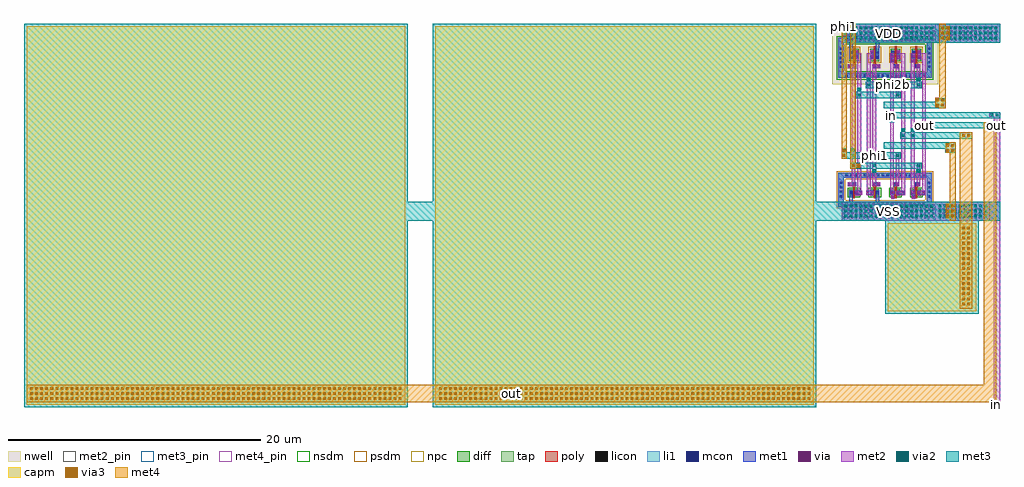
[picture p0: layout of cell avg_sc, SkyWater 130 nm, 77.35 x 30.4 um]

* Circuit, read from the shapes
.subckt avg_sc VDD VSS cs in out phi1 phi1b phi2 phi2b
XM1 phi1b phi1 VSS VSS sky130_fd_pr__nfet_01v8 w=0.5 l=0.15
XM2 VSS phi2 phi2b VSS sky130_fd_pr__nfet_01v8 w=0.5 l=0.15
XM3 cs phi1 in VSS sky130_fd_pr__nfet_01v8 w=0.5 l=0.15
XM4 out phi2 cs VSS sky130_fd_pr__nfet_01v8 w=0.5 l=0.15
XM5 phi1b phi1 VDD VDD sky130_fd_pr__pfet_01v8 w=1 l=0.15
XM6 VDD phi2 phi2b VDD sky130_fd_pr__pfet_01v8 w=1 l=0.15
XM7 cs phi1b in VDD sky130_fd_pr__pfet_01v8 w=1 l=0.15
XM8 out phi2b cs VDD sky130_fd_pr__pfet_01v8 w=1 l=0.15
XC9 out VSS sky130_fd_pr__cap_mim_m3_1 w=30 l=30 m=2
XC10 cs VSS sky130_fd_pr__cap_mim_m3_1 w=7 l=7
.ends

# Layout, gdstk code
import gdstk
lib = gdstk.Library(unit=1e-6, precision=1e-09)
def R(c, l, rs):  # rectangles x0, y0, x1, y1
    for r in rs: c.add(gdstk.rectangle(r[:2], r[2:], *l))
def A(c, l, x, y, w, h, nx, ny, dx, dy):  # array of equal rectangles
    R(c, l, [(x+i*dx, y+j*dy, x+i*dx+w, y+j*dy+h) for i in range(nx) for j in range(ny)])
def P(c, l, *ps):  # polygons
    for p in ps: c.add(gdstk.Polygon(p, *l))
nwell = (64, 20)
diff = (65, 20)
tap = (65, 44)
poly = (66, 20)
licon = (66, 44)
li1 = (67, 20)
mcon = (67, 44)
met1 = (68, 20)
via = (68, 44)
met2_pin = (69, 16)
met2 = (69, 20)
via2 = (69, 44)
met3_pin = (70, 16)
met3 = (70, 20)
via3 = (70, 44)
met4_pin = (71, 16)
met4 = (71, 20)
capm = (89, 44)
nsdm = (93, 44)
psdm = (94, 20)
npc = (95, 20)

pfet = lib.new_cell('pfet')
R(pfet, nwell, [(-0.305,-0.72,1.055,1.38)])
R(pfet, diff, [(0,0,0.75,1)])
R(pfet, poly, [(0.24,-0.53,0.51,-0.2), (0.3,-0.2,0.45,1.2)])
R(pfet, licon, [(0.29,-0.45,0.46,-0.28), (0.065,0.235,0.235,0.405), (0.515,0.235,0.685,0.405), (0.065,0.595,0.235,0.765), (0.515,0.595,0.685,0.765)])
R(pfet, li1, [(0.21,-0.45,0.54,-0.28), (0.065,0.155,0.235,0.845), (0.515,0.155,0.685,0.845)])
R(pfet, mcon, [(0.29,-0.45,0.46,-0.28), (0.065,0.235,0.235,0.405), (0.515,0.235,0.685,0.405), (0.065,0.595,0.235,0.765), (0.515,0.595,0.685,0.765)])
R(pfet, met1, [(0.19,-0.48,0.56,-0.25), (0.035,0.175,0.265,0.825), (0.485,0.175,0.715,0.825)])
R(pfet, psdm, [(-0.125,-0.125,0.875,1.125)])
R(pfet, npc, [(0.23,-0.54,0.52,-0.19)])

nfet = lib.new_cell('nfet')
R(nfet, diff, [(0,0,0.75,0.5)])
R(nfet, poly, [(0.3,-0.2,0.45,0.7), (0.24,0.7,0.51,1.03)])
R(nfet, licon, [(0.065,0.165,0.235,0.335), (0.515,0.165,0.685,0.335), (0.29,0.78,0.46,0.95)])
R(nfet, li1, [(0.065,0.085,0.235,0.415), (0.515,0.085,0.685,0.415), (0.21,0.78,0.54,0.95)])
R(nfet, mcon, [(0.065,0.165,0.235,0.335), (0.515,0.165,0.685,0.335), (0.29,0.78,0.46,0.95)])
R(nfet, met1, [(0.005,0.105,0.295,0.395), (0.455,0.105,0.745,0.395), (0.19,0.75,0.56,0.98)])
R(nfet, nsdm, [(-0.125,-0.125,0.875,0.625)])
R(nfet, npc, [(0.23,0.69,0.52,1.04)])

avg_sc = lib.new_cell('avg_sc')
R(avg_sc, nwell, [(-0.75,3.25,7.65,7.45)])
P(avg_sc, tap, [(-0.25,3.75),(-0.25,6.55),(0.15,6.55),(0.15,4.15),(6.75,4.15),(6.75,6.55),(-0.25,6.55),(-0.25,6.95),(7.15,6.95),(7.15,3.75)],
  [(-0.25,-6.45),(-0.25,-4.15),(0.15,-4.15),(0.15,-6.05),(6.75,-6.05),(6.75,-4.15),(-0.25,-4.15),(-0.25,-3.75),(7.15,-3.75),(7.15,-6.45)])
A(avg_sc, licon, 0.305, -6.335, 0.17, 0.17, 18, 2, 0.36, 2.3)
A(avg_sc, licon, -0.135, -5.725, 0.17, 0.17, 1, 4, 0, 0.36)
A(avg_sc, licon, 6.865, -5.725, 0.17, 0.17, 1, 4, 0, 0.36)
A(avg_sc, licon, 0.305, 3.865, 0.17, 0.17, 18, 2, 0.36, 2.8)
A(avg_sc, licon, -0.135, 4.545, 0.17, 0.17, 1, 5, 0, 0.36)
A(avg_sc, licon, 6.865, 4.545, 0.17, 0.17, 1, 5, 0, 0.36)
P(avg_sc, li1, [(-0.25,3.75),(-0.25,6.55),(0.15,6.55),(0.15,4.15),(6.75,4.15),(6.75,6.55),(-0.25,6.55),(-0.25,6.95),(7.15,6.95),(7.15,3.75)],
  [(-0.25,-6.45),(-0.25,-4.15),(0.15,-4.15),(0.15,-6.05),(6.75,-6.05),(6.75,-4.15),(-0.25,-4.15),(-0.25,-3.75),(7.15,-3.75),(7.15,-6.45)])
A(avg_sc, mcon, 0.305, -6.335, 0.17, 0.17, 18, 2, 0.36, 2.3)
A(avg_sc, mcon, -0.135, -5.725, 0.17, 0.17, 1, 4, 0, 0.36)
A(avg_sc, mcon, 6.865, -5.725, 0.17, 0.17, 1, 4, 0, 0.36)
A(avg_sc, mcon, 0.305, 3.865, 0.17, 0.17, 18, 2, 0.36, 2.8)
A(avg_sc, mcon, -0.135, 4.545, 0.17, 0.17, 1, 5, 0, 0.36)
A(avg_sc, mcon, 6.865, 4.545, 0.17, 0.17, 1, 5, 0, 0.36)
R(avg_sc, met1, [(0,-7.55,7.45,-6.05), (7.45,-7.55,12.55,-6.05), (0.615,-6.45,0.885,-5.185), (2.715,-6.45,2.985,-5.185), (3.92,-5.81,4.18,-5.49), (5.57,-5.81,5.83,-5.49), (1.065,-5.49,1.335,-5.17), (2.265,-5.49,2.535,-5.17), (3.915,-5.49,4.185,-5.17), (4.365,-5.49,4.635,-5.17), (5.565,-5.49,5.835,-5.17), (6.015,-5.49,6.285,-5.17), (1.065,-5.475,1.335,-5.185), (2.265,-5.475,2.535,-5.185), (3.915,-5.475,4.185,-5.185), (4.365,-5.475,4.635,-5.185), (5.565,-5.475,5.835,-5.185), (6.015,-5.475,6.285,-5.185), (4.34,-5.46,4.355,-5.2), (4.645,-5.46,4.98,-5.2), (0.49,-4.83,0.79,-4.51), (0.79,-4.83,1.16,-4.51), (2.44,-4.83,2.81,-4.51), (2.81,-4.83,3.04,-4.51), (4.09,-4.83,4.585,-4.51), (5.74,-4.83,6.235,-4.51), (0.49,4.51,0.79,4.83), (0.79,4.51,1.16,4.83), (2.44,4.51,2.81,4.83), (2.81,4.51,3.04,4.83), (4.09,4.51,4.585,4.83), (5.74,4.51,6.235,4.83), (3.92,5.005,4.18,5.255), (5.57,5.005,5.83,5.255), (0.615,5.255,0.885,6.95), (1.065,5.255,1.335,5.905), (2.265,5.255,2.535,5.905), (2.715,5.255,2.985,6.95), (3.915,5.255,4.185,5.905), (4.365,5.255,4.635,5.905), (5.565,5.255,5.835,5.905), (6.015,5.255,6.285,5.905), (1.07,5.905,1.33,5.965), (2.27,5.905,2.53,5.965), (4.37,5.905,4.63,5.965), (6.02,5.905,6.28,5.965), (0,6.55,7.45,8.05), (7.45,6.55,12.55,8.05)])
P(avg_sc, met1, [(-0.25,3.75),(-0.25,6.55),(0.15,6.55),(0.15,4.15),(6.75,4.15),(6.75,6.55),(-0.25,6.55),(-0.25,6.95),(7.15,6.95),(7.15,3.75)],
  [(-0.25,-6.45),(-0.25,-4.15),(0.15,-4.15),(0.15,-6.05),(6.75,-6.05),(6.75,-4.15),(-0.25,-4.15),(-0.25,-3.75),(7.15,-3.75),(7.15,-6.45)],
  [(1.335,-5.49),(1.335,-5.475),(1.345,-5.475),(1.345,-5.185),(1.335,-5.185),(1.335,-5.17),(1.65,-5.17),(1.65,-5.49)],
  [(1.95,-5.49),(1.95,-5.17),(2.265,-5.17),(2.265,-5.185),(2.255,-5.185),(2.255,-5.475),(2.265,-5.475),(2.265,-5.49)],
  [(6.285,-5.49),(6.285,-5.475),(6.295,-5.475),(6.295,-5.185),(6.285,-5.185),(6.285,-5.17),(6.6,-5.17),(6.6,-5.49)])
A(avg_sc, via, 0.13, -7.355, 0.15, 0.15, 23, 4, 0.32, 0.32)
A(avg_sc, via, 7.685, -7.355, 0.15, 0.15, 12, 4, 0.32, 0.32)
A(avg_sc, via, 0.13, 6.745, 0.15, 0.15, 23, 4, 0.32, 0.32)
A(avg_sc, via, 7.685, 6.745, 0.15, 0.15, 15, 4, 0.32, 0.32)
R(avg_sc, via, [(3.975,-5.725,4.125,-5.575), (5.625,-5.725,5.775,-5.575), (1.125,-5.405,1.275,-5.255), (1.445,-5.405,1.595,-5.255), (2.005,-5.405,2.155,-5.255), (2.325,-5.405,2.475,-5.255), (3.975,-5.405,4.125,-5.255), (4.425,-5.405,4.575,-5.255), (4.745,-5.405,4.895,-5.255), (5.625,-5.405,5.775,-5.255), (6.075,-5.405,6.225,-5.255), (6.395,-5.405,6.545,-5.255), (0.545,-4.745,0.695,-4.595), (0.865,-4.745,1.015,-4.595), (2.515,-4.745,2.665,-4.595), (2.835,-4.745,2.985,-4.595), (4.36,-4.745,4.51,-4.595), (6.01,-4.745,6.16,-4.595), (0.545,4.595,0.695,4.745), (0.865,4.595,1.015,4.745), (2.515,4.595,2.665,4.745), (2.835,4.595,2.985,4.745), (4.36,4.595,4.51,4.745), (6.01,4.595,6.16,4.745), (3.975,5.09,4.125,5.24), (5.625,5.09,5.775,5.24), (1.125,5.41,1.275,5.56), (2.325,5.41,2.475,5.56), (3.975,5.41,4.125,5.56), (4.425,5.41,4.575,5.56), (5.625,5.41,5.775,5.56), (6.075,5.41,6.225,5.56), (1.125,5.73,1.275,5.88), (2.325,5.73,2.475,5.88), (4.425,5.73,4.575,5.88), (6.075,5.73,6.225,5.88)])
R(avg_sc, met2_pin, [(12.05,-22.35,12.55,-21.85)])
R(avg_sc, met2, [(12.05,-22.35,12.55,1.05), (0,-7.55,11.75,-6.05), (3.92,-5.81,4.18,-5.54), (5.57,-5.81,5.83,-5.54), (1.535,-5.49,1.65,-5.17), (1.95,-5.49,1.995,-5.17), (4.34,-5.46,4.365,-5.2), (0.49,-4.83,0.79,-4.51), (0.79,-4.83,1.09,4.83), (2.44,-4.83,2.74,4.83), (2.74,-4.83,3.04,-4.51), (4.285,-4.83,4.585,-2.15), (5.935,-4.83,6.235,-2.95), (6.345,-0.14,6.38,0.14), (6.68,-0.14,7.115,0.14), (11.715,0.66,12.05,0.94), (4.285,2.15,4.585,4.83), (5.935,2.95,6.235,4.83), (0.49,4.51,0.79,4.83), (2.74,4.51,3.04,4.83), (4.14,5.005,4.18,5.22), (5.79,5.005,5.83,5.22), (1.07,5.72,1.33,5.965), (2.27,5.72,2.53,5.965), (4.37,5.72,4.63,5.965), (6.02,5.72,6.28,5.965), (0,6.55,12.55,8.05)])
P(avg_sc, met2, [(1.065,-5.54),(1.065,-5.17),(1.235,-5.17),(1.235,5.22),(1.065,5.22),(1.065,5.72),(1.535,5.72),(1.535,-5.54)],
  [(1.995,-5.54),(1.995,5.72),(2.535,5.72),(2.535,5.22),(2.295,5.22),(2.295,-5.17),(2.535,-5.17),(2.535,-5.54)],
  [(3.84,-5.54),(3.84,5.72),(4.185,5.72),(4.185,5.22),(4.14,5.22),(4.14,-5.17),(4.185,-5.17),(4.185,-5.54)],
  [(4.365,-5.54),(4.365,-5.17),(4.73,-5.17),(4.73,5.22),(4.365,5.22),(4.365,5.72),(5.03,5.72),(5.03,-5.54)],
  [(5.49,-5.54),(5.49,5.72),(5.835,5.72),(5.835,5.22),(5.79,5.22),(5.79,-5.17),(5.835,-5.17),(5.835,-5.54)],
  [(6.015,-5.54),(6.015,-5.17),(6.38,-5.17),(6.38,5.22),(6.015,5.22),(6.015,5.72),(6.68,5.72),(6.68,-5.54)])
A(avg_sc, via2, 0.225, -7.3, 0.2, 0.2, 18, 3, 0.4, 0.4)
A(avg_sc, via2, 7.7, -7.3, 0.2, 0.2, 10, 3, 0.4, 0.4)
A(avg_sc, via2, 0.225, 6.8, 0.2, 0.2, 18, 3, 0.4, 0.4)
A(avg_sc, via2, 7.7, 6.8, 0.2, 0.2, 12, 3, 0.4, 0.4)
R(avg_sc, via2, [(2.49,-3.7,2.69,-3.5), (5.985,-3.7,6.185,-3.5), (2.49,-3.3,2.69,-3.1), (5.985,-3.3,6.185,-3.1), (0.84,-2.5,1.04,-2.3), (4.335,-2.5,4.535,-2.3), (0.84,-2.1,1.04,-1.9), (4.78,-0.9,4.98,-0.7), (5.54,-0.9,5.74,-0.7), (4.78,-0.5,4.98,-0.3), (5.54,-0.5,5.74,-0.3), (6.43,-0.1,6.63,0.1), (6.83,-0.1,7.03,0.1), (3.89,0.3,4.09,0.5), (3.89,0.7,4.09,0.9), (11.8,0.7,12,0.9), (12.2,0.7,12.4,0.9), (1.285,2.3,1.485,2.5), (4.335,2.3,4.535,2.5), (1.285,2.7,1.485,2.9), (2.045,3.1,2.245,3.3), (5.985,3.1,6.185,3.3), (2.045,3.5,2.245,3.7), (5.985,3.5,6.185,3.7)])
R(avg_sc, met3_pin, [(0,-7.55,7.45,-6.05), (12.05,-0.25,12.55,0.25), (0,6.55,7.45,8.05)])
R(avg_sc, met3, [(-64.8,-22.35,-34.4,8.05), (-32.4,-22.35,-2,8.05), (3.45,-14.95,10.85,-7.55), (-64.8,-7.55,0,-6.05), (0,-7.55,7.45,-6.05), (7.45,-7.55,12.55,-6.05), (2.425,-3.765,2.755,-3.45), (5.92,-3.765,6.25,-3.45), (0.7,-3.45,2.44,-2.95), (2.34,-3.45,6.335,-2.95), (0,-2.65,0.79,-2.15), (0.69,-2.65,4.685,-2.15), (8.21,-2.16,8.99,-1.85), (0.04,-2.15,0.36,-1.81), (0.775,-2.15,1.105,-1.835), (3.34,-1.85,9.05,-1.35), (4.63,-1.05,5.89,-0.55), (5.79,-1.05,10.35,-0.55), (4.715,-0.55,5.045,-0.235), (5.475,-0.55,5.805,-0.235), (6.28,-0.25,6.78,0.25), (6.68,-0.25,12.55,0.25), (3.825,0.235,4.155,0.55), (3.74,0.55,4.24,1.05), (4.14,0.55,12.55,1.05), (3.34,1.35,8.25,1.85), (7.41,1.85,8.19,2.16), (1.135,2.15,4.685,2.65), (1.22,2.65,1.55,2.965), (1.895,2.95,6.335,3.45), (1.98,3.45,2.31,3.765), (5.92,3.45,6.25,3.765), (0,6.55,7.45,8.05), (7.45,6.55,12.55,8.05)])
A(avg_sc, via3, -64.3, -21.75, 0.2, 0.2, 74, 3, 0.4, 0.4)
A(avg_sc, via3, -31.9, -21.75, 0.2, 0.2, 74, 3, 0.4, 0.4)
A(avg_sc, via3, 9.55, -14.25, 0.2, 0.2, 1, 16, 0, 0.4)
A(avg_sc, via3, 9.95, -14.25, 0.2, 0.2, 1, 16, 0, 0.4)
A(avg_sc, via3, 8.3, -7.3, 0.2, 0.2, 1, 3, 0, 0.4)
A(avg_sc, via3, 8.7, -7.3, 0.2, 0.2, 1, 3, 0, 0.4)
A(avg_sc, via3, 7.9, 6.8, 0.2, 0.2, 1, 3, 0, 0.4)
A(avg_sc, via3, 8.3, 6.8, 0.2, 0.2, 1, 3, 0, 0.4)
R(avg_sc, via3, [(0.8,-3.3,1,-3.1), (1.2,-3.3,1.4,-3.1), (0.1,-2.5,0.3,-2.3), (0.1,-2.1,0.3,-1.9), (8.3,-2.1,8.5,-1.9), (8.7,-2.1,8.9,-1.9), (8.3,-1.7,8.5,-1.5), (8.7,-1.7,8.9,-1.5), (9.55,-0.9,9.75,-0.7), (9.95,-0.9,10.15,-0.7), (11.45,-0.1,11.65,0.1), (11.85,-0.1,12.05,0.1), (7.5,1.5,7.7,1.7), (7.9,1.5,8.1,1.7), (7.5,1.9,7.7,2.1), (7.9,1.9,8.1,2.1)])
R(avg_sc, met4_pin, [(0,7.55,0.4,8.05), (0.7,7.55,1.1,8.05)])
R(avg_sc, met4, [(-64.6,-21.95,12.25,-20.55), (11.25,-20.55,12.25,0.25), (9.35,-14.55,10.35,-0.55), (8.55,-7.55,9.05,-1.35), (8.235,-7.365,8.55,-6.235), (0.7,-3.45,1.1,8.05), (1.1,-3.365,1.465,-3.035), (0,-2.65,0.4,8.05), (8.235,-2.165,8.55,-1.435), (7.75,1.35,8.25,8.05), (7.435,1.435,7.75,2.165), (8.25,6.735,8.565,7.865)])
R(avg_sc, capm, [(-64.6,-22.15,-34.6,7.85), (-32.2,-22.15,-2.2,7.85), (3.65,-14.75,10.65,-7.75)])
P(avg_sc, nsdm, [(-0.375,3.625),(-0.375,6.425),(0.275,6.425),(0.275,4.275),(6.625,4.275),(6.625,6.425),(-0.375,6.425),(-0.375,7.075),(7.275,7.075),(7.275,3.625)])
P(avg_sc, psdm, [(-0.375,-6.575),(-0.375,-4.275),(0.275,-4.275),(0.275,-5.925),(6.625,-5.925),(6.625,-4.275),(-0.375,-4.275),(-0.375,-3.625),(7.275,-3.625),(7.275,-6.575)])
avg_sc.add(gdstk.Reference(pfet, (0.6,5.08)))
avg_sc.add(gdstk.Reference(pfet, (2.25,5.08)))
avg_sc.add(gdstk.Reference(pfet, (3.9,5.08)))
avg_sc.add(gdstk.Reference(pfet, (5.55,5.08)))
avg_sc.add(gdstk.Reference(nfet, (0.6,-5.58)))
avg_sc.add(gdstk.Reference(nfet, (2.25,-5.58)))
avg_sc.add(gdstk.Reference(nfet, (3.9,-5.58)))
avg_sc.add(gdstk.Reference(nfet, (5.55,-5.58)))
avg_sc.add(gdstk.Label('VDD', (3.725,7.3), layer=70, texttype=5))
avg_sc.add(gdstk.Label('VSS', (3.725,-6.8), layer=70, texttype=5))
avg_sc.add(gdstk.Label('phi2b', (4.115,3.2), layer=70, texttype=5))
avg_sc.add(gdstk.Label('phi1b', (2.91,2.4), layer=70, texttype=5))
avg_sc.add(gdstk.Label('in', (3.99,0.8), layer=70, texttype=5))
avg_sc.add(gdstk.Label('out', (6.53,0), layer=70, texttype=5))
avg_sc.add(gdstk.Label('cs', (5.26,-0.8), layer=70, texttype=5))
avg_sc.add(gdstk.Label('phi1', (2.688,-2.4), layer=70, texttype=5))
avg_sc.add(gdstk.Label('phi2', (4.338,-3.2), layer=70, texttype=5))
avg_sc.add(gdstk.Label('out', (12.3,0), layer=70, texttype=5))
avg_sc.add(gdstk.Label('phi1', (0.2,7.8), layer=71, texttype=5))
avg_sc.add(gdstk.Label('phi2', (0.9,7.8), layer=71, texttype=5))
avg_sc.add(gdstk.Label('out', (-26.175,-21.25), layer=71, texttype=5))
avg_sc.add(gdstk.Label('in', (12.3,-22.1), layer=69, texttype=5))

lib.write_gds('avg_sc.gds')
